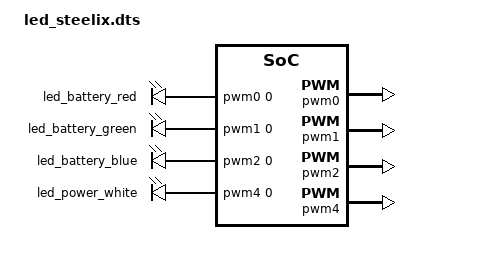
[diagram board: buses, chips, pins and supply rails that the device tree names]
/* Copyright 2022 The Chromium OS Authors. All rights reserved.
 * Use of this source code is governed by a BSD-style license that can be
 * found in the LICENSE file.
 */

/ {
	pwmleds {
		compatible = "pwm-leds";
		led_battery_red: ec_led1_odl {
			pwms = <&pwm0 0 PWM_HZ(100) PWM_POLARITY_INVERTED>;
		};
		led_battery_green: ec_led2_odl {
			pwms = <&pwm1 0 PWM_HZ(100) PWM_POLARITY_INVERTED>;
		};
		led_battery_blue: ec_led3_odl {
			pwms = <&pwm2 0 PWM_HZ(100) PWM_POLARITY_INVERTED>;
		};
		led_power_white: ec_led4_odl {
			pwms = <&pwm4 0 PWM_HZ(100) PWM_POLARITY_INVERTED>;
		};
	};
};

/* Red LED */
&pwm0 {
	status = "okay";
	drive-open-drain;
	clock-bus = "NPCX_CLOCK_BUS_LFCLK";
};

/* Green LED */
&pwm1 {
	status = "okay";
	drive-open-drain;
	clock-bus = "NPCX_CLOCK_BUS_LFCLK";
};

/* Blue LED */
&pwm2 {
	status = "okay";
	drive-open-drain;
	clock-bus = "NPCX_CLOCK_BUS_LFCLK";
};

/* White LED */
&pwm4 {
	status = "okay";
	drive-open-drain;
	clock-bus = "NPCX_CLOCK_BUS_LFCLK";
};
